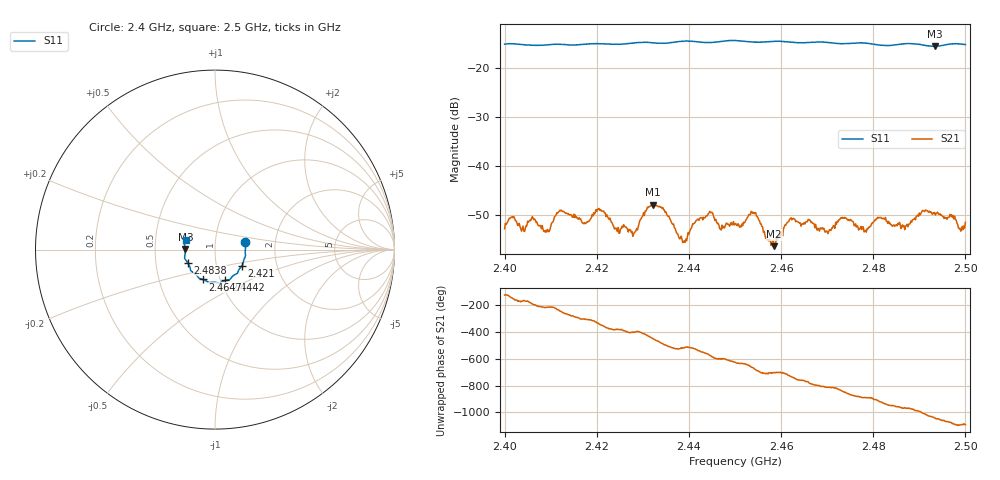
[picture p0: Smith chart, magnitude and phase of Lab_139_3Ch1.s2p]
# Hz S RI R 50
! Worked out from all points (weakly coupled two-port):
!   601 points, 2.4 GHz to 2.5 GHz, reference 50 ohm
!   highest |S21| = -47.79 dB at 2.4322 GHz (marker M1); lowest = -56.2 dB at 2.4585 GHz (marker M2)
!   lowest |S11| = -15.6 dB at 2.4933 GHz (marker M3), VSWR 1.40, Z = 35.8 + j0.0457 ohm
!   |S11| at or under -10 dB: start of sweep to end of sweep
!   S12 and S22 are empty: the file has one direction only
!   S11 on the Smith chart (normalised r, x): 2.4 GHz: 1.40, +0.12; 2.421 GHz: 1.33, -0.24; 2.4442 GHz: 1.05, -0.37; 2.4647 GHz: 0.83, -0.28; 2.4838 GHz: 0.73, -0.11; 2.5 GHz: 0.71, +0.08
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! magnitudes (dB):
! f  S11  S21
! 2.4 GHz  -15.2  -52.7
! 2.4062 GHz  -15.4  -50.5
! 2.4093 GHz  -15.3  -52.8
! 2.4123 GHz  -15.3  -48.9
! 2.4167 GHz  -15.3  -51.2
! 2.421 GHz  -15.1  -49.1
! 2.428 GHz  -15.0  -53.8
! 2.4322 GHz  -14.9  -47.8
! 2.4333 GHz  -15.0  -48.2
! 2.439 GHz  -14.6  -55.1
! 2.4442 GHz  -14.9  -49.7
! 2.45 GHz  -14.5  -51.7
! 2.454 GHz  -14.8  -49.4
! 2.4585 GHz  -14.6  -56.2
! 2.4622 GHz  -14.8  -50.5
! 2.4647 GHz  -14.9  -51.7
! 2.4667 GHz  -14.8  -51.4
! 2.47 GHz  -14.9  -53.3
! 2.4833 GHz  -15.5  -51.2
! 2.4838 GHz  -15.5  -51.9
! 2.4933 GHz  -15.6  -49.4
! 2.5 GHz  -15.3  -51.4
